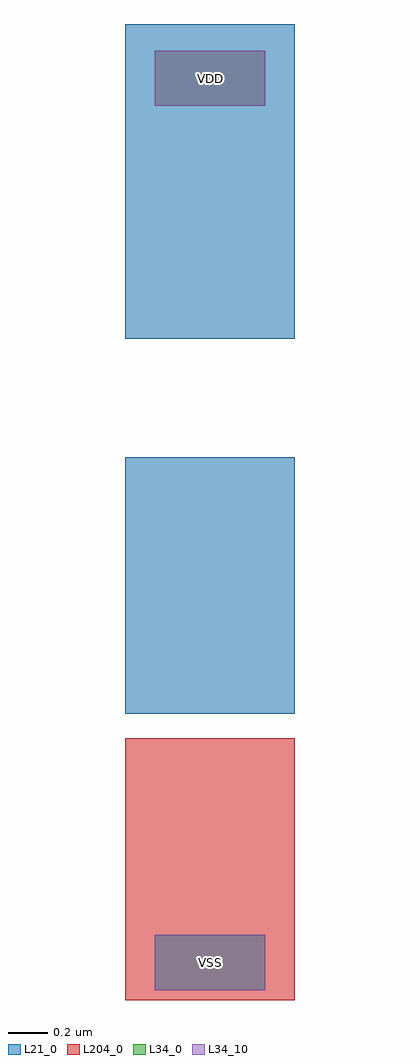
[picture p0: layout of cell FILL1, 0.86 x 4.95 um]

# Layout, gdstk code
import gdstk
lib = gdstk.Library(unit=1e-6, precision=1e-09)
def R(c, l, rs):  # rectangles x0, y0, x1, y1
    for r in rs: c.add(gdstk.rectangle(r[:2], r[2:], *l))
L21_0 = (21, 0)
L34_0 = (34, 0)
L34_10 = (34, 10)
L204_0 = (204, 0)

fill1 = lib.new_cell('FILL1')
R(fill1, L21_0, [(-0.15,1.26,0.71,2.56), (-0.15,3.16,0.71,4.755)])
R(fill1, L34_0, [(0,-0.14,0.56,0.14), (0,4.34,0.56,4.62)])
R(fill1, L34_10, [(0,-0.14,0.56,0.14), (0,4.34,0.56,4.62)])
R(fill1, L204_0, [(-0.15,-0.19,0.71,1.135)])
fill1.add(gdstk.Label('VSS', (0.28,0), layer=34, texttype=10))
fill1.add(gdstk.Label('VDD', (0.28,4.48), layer=34, texttype=10))

lib.write_gds('FILL1.gds')
